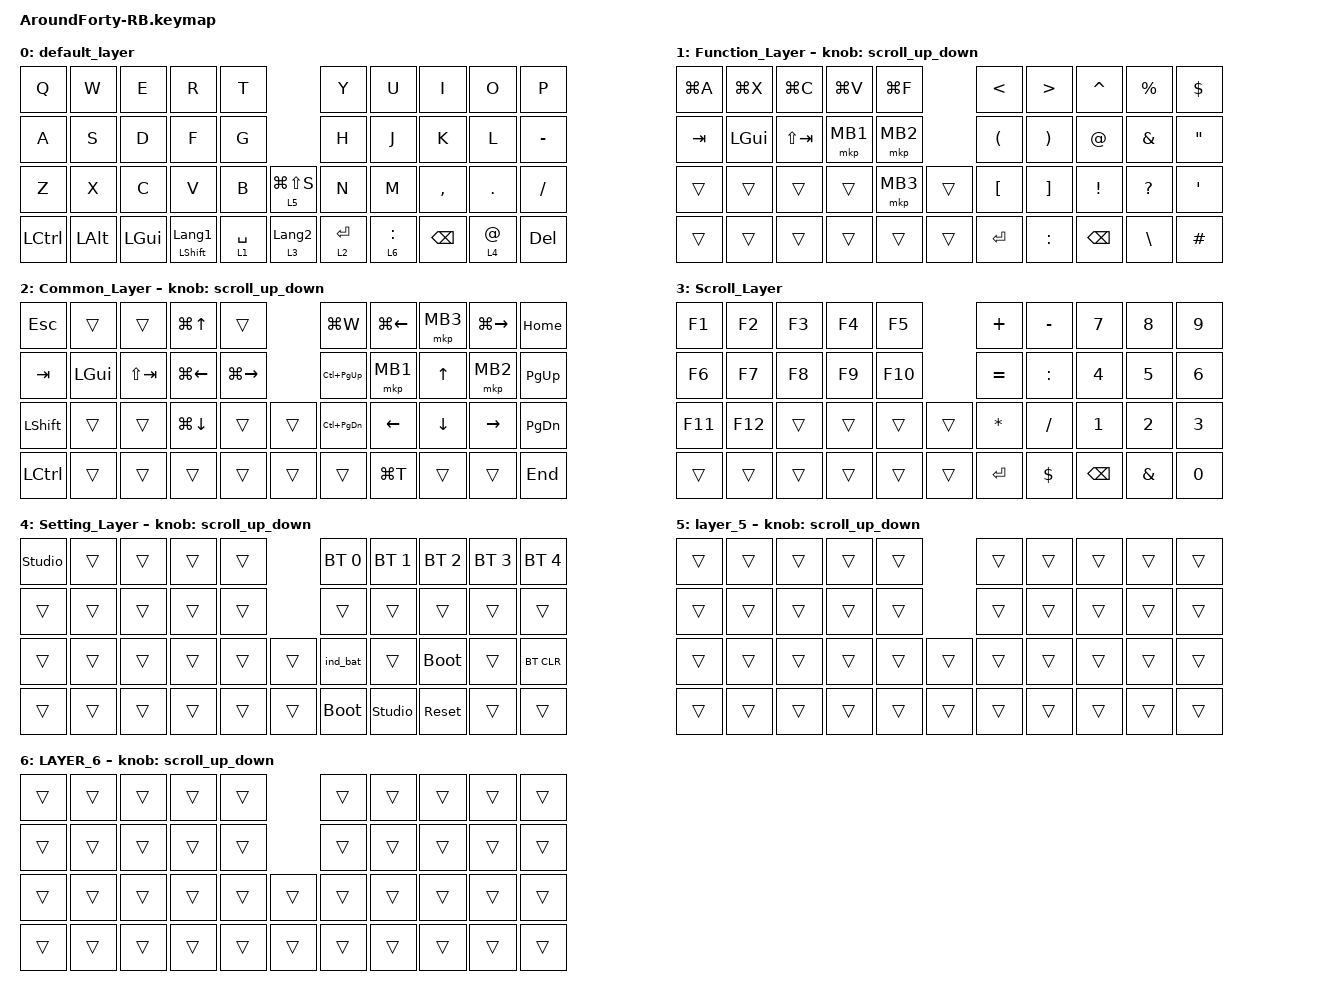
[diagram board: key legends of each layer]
#include <behaviors.dtsi>
#include <dt-bindings/zmk/bt.h>
#include <dt-bindings/zmk/keys.h>
#include <dt-bindings/zmk/pointing.h>

#define ZMK_POINTING_DEFAULT_SCRL_VAL 100
#define MOUSE 4
#define SCROLL 5

#include <behaviors/rgbled_widget.dtsi>  // needed to use the behaviors

&mt {
    flavor = "balanced";
    quick-tap-ms = <0>;
};

/ {
    combos {
        compatible = "zmk,combos";

        left {
            bindings = <&kp LEFT_PARENTHESIS>;
            key-positions = <11 12>;
        };

        right {
            bindings = <&kp RIGHT_PARENTHESIS>;
            key-positions = <13 14>;
        };

        l_disp {
            bindings = <&kp LA(LC(D))>;
            key-positions = <31 32>;
        };

        c_disp {
            bindings = <&kp LA(LC(F))>;
            key-positions = <32 33>;
        };

        r_disp {
            bindings = <&kp LA(LC(G))>;
            key-positions = <33 34>;
        };

        full_disp {
            bindings = <&kp LA(LC(ENTER))>;
            key-positions = <34 35>;
        };
    };

    macros {
        to_layer_0: to_layer_0 {
            compatible = "zmk,behavior-macro-one-param";
            #binding-cells = <1>;
            bindings = <&to 0 &macro_param_1to1 &kp MACRO_PLACEHOLDER>;
            label = "TO_LAYER_0";
        };

        mission: mission {
            compatible = "zmk,behavior-macro";
            #binding-cells = <0>;
            bindings = <&kp LC(UP_ARROW)>;
            label = "MISSION";
        };

        launchpad: launchpad {
            compatible = "zmk,behavior-macro";
            #binding-cells = <0>;
            bindings = <&kp LA(LG(L))>;
            label = "LAUNCHPAD";
        };

        capture: capture {
            compatible = "zmk,behavior-macro";
            #binding-cells = <0>;
            bindings = <&kp LG(LS(N5))>;
            label = "CAPTURE";
        };

        left: left {
            compatible = "zmk,behavior-macro";
            #binding-cells = <0>;
            bindings = <&kp LA(LC(D))>;
            label = "LEFT";
        };

        center: center {
            compatible = "zmk,behavior-macro";
            #binding-cells = <0>;
            bindings = <&kp LA(LC(F))>;
            label = "CENTER";
        };

        right: right {
            compatible = "zmk,behavior-macro";
            #binding-cells = <0>;
            bindings = <&kp LA(LC(G))>;
            label = "RIGHT";
        };

        left_two: left_two {
            compatible = "zmk,behavior-macro";
            #binding-cells = <0>;
            bindings = <&kp LA(LC(E))>;
            label = "LEFT_TWO";
        };

        right_two: right_two {
            compatible = "zmk,behavior-macro";
            #binding-cells = <0>;
            bindings = <&kp LA(LC(T))>;
            label = "RIGHT_TWO";
        };
    };

    behaviors {
        lt_to_layer_0: lt_to_layer_0 {
            compatible = "zmk,behavior-hold-tap";
            label = "LAYER_TAP_TO_0";
            bindings = <&mo>, <&to_layer_0>;

            #binding-cells = <2>;
            tapping-term-ms = <200>;
        };

        scroll_up_down: behavior_sensor_rotate_mouse_wheel_up_down {
            compatible = "zmk,behavior-sensor-rotate";
            #sensor-binding-cells = <0>;
            bindings = <&msc SCRL_UP>, <&msc SCRL_DOWN>;

            tap-ms = <20>;
        };
    };


    keymap {
        compatible = "zmk,keymap";

        default_layer {
            bindings = <
&kp Q      &kp W         &kp E         &kp R                      &kp T                          &kp Y        &kp U        &kp I          &kp O          &kp P
&kp A      &kp S         &kp D         &kp F                      &kp G                          &kp H        &kp J        &kp K          &kp L          &kp MINUS
&kp Z      &kp X         &kp C         &kp V                      &kp B        &lt 5 LG(LS(S))   &kp N        &kp M        &kp COMMA      &kp PERIOD     &kp SLASH
&kp LCTRL  &kp LEFT_ALT  &kp LEFT_GUI  &mt LEFT_SHIFT LANGUAGE_1  &lt 1 SPACE  &lt 3 LANGUAGE_2  &lt 2 ENTER  &lt 6 COLON  &kp BACKSPACE  &lt 4 AT_SIGN  &kp DELETE
            >;
        };

        Function_Layer {
            bindings = <
&kp LG(A)  &kp LG(X)     &kp LG(C)    &kp LG(V)  &kp LG(F)          &kp LESS_THAN         &kp GREATER_THAN       &kp CARET        &kp PERCENT    &kp DOLLAR
&kp TAB    &kp LEFT_GUI  &kp LS(TAB)  &mkp MB1   &mkp MB2           &kp LEFT_PARENTHESIS  &kp RIGHT_PARENTHESIS  &kp AT_SIGN      &kp AMPERSAND  &kp DOUBLE_QUOTES
&trans     &trans        &trans       &trans     &mkp MB3   &trans  &kp LEFT_BRACKET      &kp RIGHT_BRACKET      &kp EXCLAMATION  &kp QUESTION   &kp SQT
&trans     &trans        &trans       &trans     &trans     &trans  &kp ENTER             &kp COLON              &kp BACKSPACE    &kp BACKSLASH  &kp HASH
            >;

            sensor-bindings = <&scroll_up_down>;
        };

        Common_Layer {
            bindings = <
&kp ESCAPE      &trans        &trans       &kp LG(UP_ARROW)    &trans                       &kp LG(W)          &kp LG(LEFT_ARROW)  &mkp MB3        &kp LG(RIGHT_ARROW)  &kp HOME
&kp TAB         &kp LEFT_GUI  &kp LS(TAB)  &kp LG(LEFT_ARROW)  &kp LG(RIGHT_ARROW)          &kp LC(PAGE_UP)    &mkp MB1            &kp UP_ARROW    &mkp MB2             &kp PAGE_UP
&kp LEFT_SHIFT  &trans        &trans       &kp LG(DOWN_ARROW)  &trans               &trans  &kp LC(PAGE_DOWN)  &kp LEFT_ARROW      &kp DOWN_ARROW  &kp RIGHT_ARROW      &kp PAGE_DOWN
&kp LCTRL       &trans        &trans       &trans              &trans               &trans  &trans             &kp LG(T)           &trans          &trans               &kp END
            >;

            sensor-bindings = <&scroll_up_down>;
        };

        Scroll_Layer {
            bindings = <
&kp F1   &kp F2   &kp F3  &kp F4  &kp F5           &kp PLUS      &kp MINUS   &kp NUMBER_7   &kp NUMBER_8   &kp NUMBER_9
&kp F6   &kp F7   &kp F8  &kp F9  &kp F10          &kp EQUAL     &kp COLON   &kp N4         &kp N5         &kp N6
&kp F11  &kp F12  &trans  &trans  &trans   &trans  &kp ASTERISK  &kp SLASH   &kp NUMBER_1   &kp NUMBER_2   &kp NUMBER_3
&trans   &trans   &trans  &trans  &trans   &trans  &kp ENTER     &kp DOLLAR  &kp BACKSPACE  &kp AMPERSAND  &kp N0
            >;
        };

        Setting_Layer {
            bindings = <
&studio_unlock  &trans  &trans  &trans  &trans          &bt BT_SEL 0  &bt BT_SEL 1    &bt BT_SEL 2  &bt BT_SEL 3  &bt BT_SEL 4
&trans          &trans  &trans  &trans  &trans          &trans        &trans          &trans        &trans        &trans
&trans          &trans  &trans  &trans  &trans  &trans  &ind_bat      &trans          &bootloader   &trans        &bt BT_CLR
&trans          &trans  &trans  &trans  &trans  &trans  &bootloader   &studio_unlock  &sys_reset    &trans        &trans
            >;

            sensor-bindings = <&scroll_up_down>;
        };

        layer_5 {
            bindings = <
&trans  &trans  &trans  &trans  &trans          &trans  &trans  &trans  &trans  &trans
&trans  &trans  &trans  &trans  &trans          &trans  &trans  &trans  &trans  &trans
&trans  &trans  &trans  &trans  &trans  &trans  &trans  &trans  &trans  &trans  &trans
&trans  &trans  &trans  &trans  &trans  &trans  &trans  &trans  &trans  &trans  &trans
            >;

            sensor-bindings = <&scroll_up_down>;
        };

        LAYER_6 {
            bindings = <
&trans  &trans  &trans  &trans  &trans          &trans  &trans  &trans  &trans  &trans
&trans  &trans  &trans  &trans  &trans          &trans  &trans  &trans  &trans  &trans
&trans  &trans  &trans  &trans  &trans  &trans  &trans  &trans  &trans  &trans  &trans
&trans  &trans  &trans  &trans  &trans  &trans  &trans  &trans  &trans  &trans  &trans
            >;

            sensor-bindings = <&scroll_up_down>;
        };
    };
};
